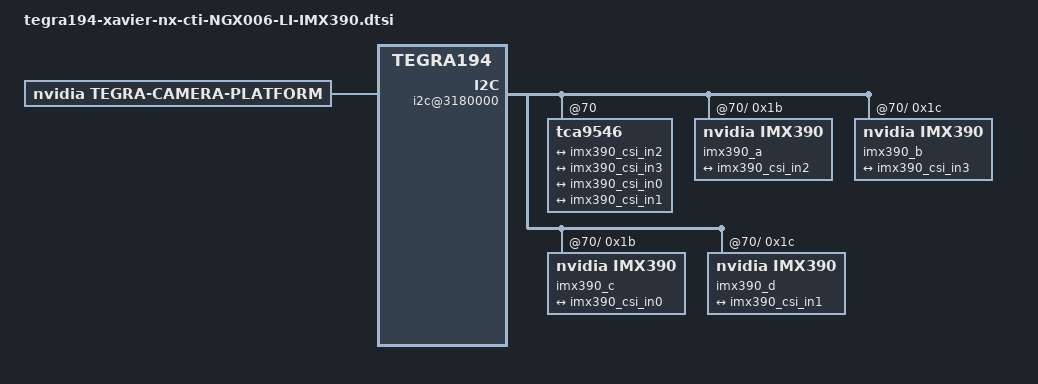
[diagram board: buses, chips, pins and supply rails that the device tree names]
/*
 * Copyright (c) 2018, NVIDIA CORPORATION.  All rights reserved.
 *
 * This program is free software; you can redistribute it and/or modify
 * it under the terms of the GNU General Public License as published by
 * the Free Software Foundation; either version 2 of the License, or
 * (at your option) any later version.
 *
 * This program is distributed in the hope that it will be useful, but WITHOUT
 * ANY WARRANTY; without even the implied warranty of MERCHANTABILITY or
 * FITNESS FOR A PARTICULAR PURPOSE.  See the GNU General Public License for
 * more details.
 *
 * You should have received a copy of the GNU General Public License
 * along with this program.  If not, see <http://www.gnu.org/licenses/>.
 */

/ {
	host1x {
		vi@15c10000 {
			num-channels = <4>;
			ports {
				#address-cells = <1>;
				#size-cells = <0>;
				port@0 {
					reg = <0>;
					imx390_vi_in0: endpoint {
						vc-id = <0>;
						port-index = <0>;
						bus-width = <2>;
						remote-endpoint = <&imx390_csi_out0>;
					};
				};
				port@1 {
					reg = <1>;
					imx390_vi_in1: endpoint {
						vc-id = <1>;
						port-index = <0>;
						bus-width = <2>;
						remote-endpoint = <&imx390_csi_out1>;
					};
				};
				port@2 {
					reg = <2>;
					imx390_vi_in2: endpoint {
						vc-id = <0>;
						port-index = <2>;
						bus-width = <2>;
						remote-endpoint = <&imx390_csi_out2>;
					};
				};
				port@3 {
					reg = <3>;
					imx390_vi_in3: endpoint {
						vc-id = <1>;
						port-index = <2>;
						bus-width = <2>;
						remote-endpoint = <&imx390_csi_out3>;
					};
				};
				
			};
		};

		nvcsi@15a00000 {
			num-channels = <4>;
			#address-cells = <1>;
			#size-cells = <0>;
			channel@0 {
				reg = <0>;
				ports {
					#address-cells = <1>;
					#size-cells = <0>;
					port@0 {
						reg = <0>;
						imx390_csi_in0: endpoint@0 {
							port-index = <0>;
							bus-width = <2>;
							remote-endpoint = <&imx390_imx390_out0>;
						};
					};
					port@1 {
						reg = <1>;
						imx390_csi_out0: endpoint@1 {
							remote-endpoint = <&imx390_vi_in0>;
						};
					};
				};
			};
			channel@1 {
				reg = <1>;
				ports {
					#address-cells = <1>;
					#size-cells = <0>;
					port@0 {
						reg = <0>;
						imx390_csi_in1: endpoint@2 {
							port-index = <0>;
							bus-width = <2>;
							remote-endpoint = <&imx390_imx390_out1>;
						};
					};
					port@1 {
						reg = <1>;
						imx390_csi_out1: endpoint@3 {
							remote-endpoint = <&imx390_vi_in1>;
						};
					};
				};
			};
			channel@2 {
				reg = <2>;
				ports {
					#address-cells = <1>;
					#size-cells = <0>;
					port@0 {
						reg = <0>;
						imx390_csi_in2: endpoint@4 {
							port-index = <2>;
							bus-width = <2>;
							remote-endpoint = <&imx390_imx390_out2>;
						};
					};
					port@1 {
						reg = <1>;
						imx390_csi_out2: endpoint@5 {
							remote-endpoint = <&imx390_vi_in2>;
						};
					};
				};
			};
			channel@3 {
				reg = <3>;
				ports {
					#address-cells = <1>;
					#size-cells = <0>;
					port@0 {
						reg = <0>;
						imx390_csi_in3: endpoint@6 {
							port-index = <2>;
							bus-width = <2>;
							remote-endpoint = <&imx390_imx390_out3>;
						};
					};
					port@1 {
						reg = <1>;
						imx390_csi_out3: endpoint@7 {
							remote-endpoint = <&imx390_vi_in3>;
						};
					};
				};
			};
						
		};
	};

	i2c@3180000 {
		
	tca9546@70 {	
			i2c@0 {
			imx390_a@1b {
				compatible = "nvidia,imx390";

				reg = <0x1b>;
				reg_mux = <0>;
				/* Physical dimensions of sensor */
				physical_w = "15.0";
				physical_h = "12.5";

				sensor_model ="imx390";

				/* Defines number of frames to be dropped by driver internally after applying */
				/* sensor crop settings. Some sensors send corrupt frames after applying */
				/* crop co-ordinates */
				post_crop_frame_drop = "0";

				/* Convert Gain to unit of dB (decibel) befor passing to kernel driver */
				use_decibel_gain = "true";

				/* enable CID_SENSOR_MODE_ID for sensor modes selection */
				use_sensor_mode_id = "true";

				mode0 {/*mode IMX390_MODE_1920X1080_CROP_30FPS*/
					mclk_khz = "24000";
					num_lanes = "2";
					tegra_sinterface = "serial_c";
					vc_id = "0";
					discontinuous_clk = "no";
					dpcm_enable = "false";
					cil_settletime = "0";
					dynamic_pixel_bit_depth = "12";
					csi_pixel_bit_depth = "12";
					mode_type = "bayer";
					pixel_phase = "rggb";

					active_w = "1920";
					active_h = "1080";
					readout_orientation = "0";
					line_length = "2200";
					inherent_gain = "1";
					mclk_multiplier = "3.09";
					pix_clk_hz = "74250000";
					serdes_pix_clk_hz = "833333333";

					gain_factor = "10";
					min_gain_val = "0"; /* dB */
					max_gain_val = "300"; /* dB */
					step_gain_val = "3"; /* 0.3 */
					default_gain = "0";
					min_hdr_ratio = "1";
					max_hdr_ratio = "1";
					framerate_factor = "1000000";
					min_framerate = "30000000";
					max_framerate = "30000000";
					step_framerate = "1";
					default_framerate = "30000000";
					exposure_factor = "1000000";
					min_exp_time = "118"; /*us, 2 lines*/
					max_exp_time = "33333";
					step_exp_time = "1";
					default_exp_time = "33333";/* us */
					embedded_metadata_height = "0";
				};
				ports {
					#address-cells = <1>;
					#size-cells = <0>;
					port@0 {
						reg = <0>;
						imx390_imx390_out2: endpoint {
							vc-id = <0>;
							port-index = <2>;
							bus-width = <2>;
							remote-endpoint = <&imx390_csi_in2>;
							};
						};
					};
				gmsl-link {
					src-csi-port = "b";
					dst-csi-port = "a";
					serdes-csi-link = "a";
					csi-mode = "1x4";
					st-vc = <0>;
					vc-id = <0>;
					num-lanes = <2>;
					streams = "ued-u1", "raw12";
					};
				};

			imx390_b@1c {
				compatible = "nvidia,imx390";

				reg = <0x1c>;
				reg_mux = <0>;
				/* Physical dimensions of sensor */
				physical_w = "15.0";
				physical_h = "12.5";

				sensor_model ="imx390";

				/* Defines number of frames to be dropped by driver internally after applying */
				/* sensor crop settings. Some sensors send corrupt frames after applying */
				/* crop co-ordinates */
				post_crop_frame_drop = "0";

				/* Convert Gain to unit of dB (decibel) befor passing to kernel driver */
				use_decibel_gain = "true";

				/* enable CID_SENSOR_MODE_ID for sensor modes selection */
				use_sensor_mode_id = "true";

				mode0 {/*mode IMX390_MODE_1920X1080_CROP_30FPS*/
					mclk_khz = "24000";
					num_lanes = "2";
					tegra_sinterface = "serial_c";
					vc_id = "1";
					discontinuous_clk = "no";
					dpcm_enable = "false";
					cil_settletime = "0";
					dynamic_pixel_bit_depth = "12";
					csi_pixel_bit_depth = "12";
					mode_type = "bayer";
					pixel_phase = "rggb";

					active_w = "1920";
					active_h = "1080";
					readout_orientation = "0";
					line_length = "2200";
					inherent_gain = "1";
					mclk_multiplier = "3.09";
					pix_clk_hz = "74250000";
					serdes_pix_clk_hz = "833333333";

					gain_factor = "10";
					min_gain_val = "0"; /* dB */
					max_gain_val = "300"; /* dB */
					step_gain_val = "3"; /* 0.3 */
					default_gain = "0";
					min_hdr_ratio = "1";
					max_hdr_ratio = "1";
					framerate_factor = "1000000";
					min_framerate = "30000000";
					max_framerate = "30000000";
					step_framerate = "1";
					default_framerate = "30000000";
					exposure_factor = "1000000";
					min_exp_time = "118"; /*us, 2 lines*/
					max_exp_time = "33333";
					step_exp_time = "1";
					default_exp_time = "33333";/* us */
					embedded_metadata_height = "0";
				};
				ports {
					#address-cells = <1>;
					#size-cells = <0>;
					port@0 {
						reg = <0>;
						imx390_imx390_out3: endpoint {
							vc-id = <1>;
							port-index = <2>;
							bus-width = <2>;
							remote-endpoint = <&imx390_csi_in3>;
							};
						};
					};
				gmsl-link {
					src-csi-port = "b";
					dst-csi-port = "a";
					serdes-csi-link = "b";
					csi-mode = "1x4";
					st-vc = <0>;
					vc-id = <1>;
					num-lanes = <2>;
					streams = "ued-u1", "raw12";
					};
				};
			};
			i2c@1 {
			imx390_c@1b {
				compatible = "nvidia,imx390";

				reg = <0x1b>;
				reg_mux = <1>;
				/* Physical dimensions of sensor */
				physical_w = "15.0";
				physical_h = "12.5";

				sensor_model ="imx390";

				/* Defines number of frames to be dropped by driver internally after applying */
				/* sensor crop settings. Some sensors send corrupt frames after applying */
				/* crop co-ordinates */
				post_crop_frame_drop = "0";

				/* Convert Gain to unit of dB (decibel) befor passing to kernel driver */
				use_decibel_gain = "true";

				/* enable CID_SENSOR_MODE_ID for sensor modes selection */
				use_sensor_mode_id = "true";

				mode0 {/*mode IMX390_MODE_1920X1080_CROP_30FPS*/
					mclk_khz = "24000";
					num_lanes = "2";
					tegra_sinterface = "serial_a";
					vc_id = "0";
					discontinuous_clk = "no";
					dpcm_enable = "false";
					cil_settletime = "0";
					dynamic_pixel_bit_depth = "12";
					csi_pixel_bit_depth = "12";
					mode_type = "bayer";
					pixel_phase = "rggb";

					active_w = "1920";
					active_h = "1080";
					readout_orientation = "0";
					line_length = "2200";
					inherent_gain = "1";
					mclk_multiplier = "3.09";
					pix_clk_hz = "74250000";
					serdes_pix_clk_hz = "833333333";

					gain_factor = "10";
					min_gain_val = "0"; /* dB */
					max_gain_val = "300"; /* dB */
					step_gain_val = "3"; /* 0.3 */
					default_gain = "0";
					min_hdr_ratio = "1";
					max_hdr_ratio = "1";
					framerate_factor = "1000000";
					min_framerate = "30000000";
					max_framerate = "30000000";
					step_framerate = "1";
					default_framerate = "30000000";
					exposure_factor = "1000000";
					min_exp_time = "118"; /*us, 2 lines*/
					max_exp_time = "33333";
					step_exp_time = "1";
					default_exp_time = "33333";/* us */
					embedded_metadata_height = "0";
				};
				ports {
					#address-cells = <1>;
					#size-cells = <0>;
					port@0 {
						reg = <0>;
						imx390_imx390_out0: endpoint {
							vc-id = <0>;
							port-index = <0>;
							bus-width = <2>;
							remote-endpoint = <&imx390_csi_in0>;
							};
						};
					};
				gmsl-link {
					src-csi-port = "b";
					dst-csi-port = "a";
					serdes-csi-link = "a";
					csi-mode = "1x4";
					st-vc = <0>;
					vc-id = <0>;
					num-lanes = <2>;
					streams = "ued-u1", "raw12";
					};
				};

			imx390_d@1c {
				compatible = "nvidia,imx390";

				reg = <0x1c>;
				reg_mux = <1>;
				/* Physical dimensions of sensor */
				physical_w = "15.0";
				physical_h = "12.5";

				sensor_model ="imx390";

				/* Defines number of frames to be dropped by driver internally after applying */
				/* sensor crop settings. Some sensors send corrupt frames after applying */
				/* crop co-ordinates */
				post_crop_frame_drop = "0";

				/* Convert Gain to unit of dB (decibel) befor passing to kernel driver */
				use_decibel_gain = "true";

				/* enable CID_SENSOR_MODE_ID for sensor modes selection */
				use_sensor_mode_id = "true";

				mode0 {/*mode IMX390_MODE_1920X1080_CROP_30FPS*/
					mclk_khz = "24000";
					num_lanes = "2";
					tegra_sinterface = "serial_a";
					vc_id = "1";
					discontinuous_clk = "no";
					dpcm_enable = "false";
					cil_settletime = "0";
					dynamic_pixel_bit_depth = "12";
					csi_pixel_bit_depth = "12";
					mode_type = "bayer";
					pixel_phase = "rggb";

					active_w = "1920";
					active_h = "1080";
					readout_orientation = "0";
					line_length = "2200";
					inherent_gain = "1";
					mclk_multiplier = "3.09";
					pix_clk_hz = "74250000";
					serdes_pix_clk_hz = "833333333";

					gain_factor = "10";
					min_gain_val = "0"; /* dB */
					max_gain_val = "300"; /* dB */
					step_gain_val = "3"; /* 0.3 */
					default_gain = "0";
					min_hdr_ratio = "1";
					max_hdr_ratio = "1";
					framerate_factor = "1000000";
					min_framerate = "30000000";
					max_framerate = "30000000";
					step_framerate = "1";
					default_framerate = "30000000";
					exposure_factor = "1000000";
					min_exp_time = "118"; /*us, 2 lines*/
					max_exp_time = "33333";
					step_exp_time = "1";
					default_exp_time = "33333";/* us */
					embedded_metadata_height = "0";
				};
				ports {
					#address-cells = <1>;
					#size-cells = <0>;
					port@0 {
						reg = <0>;
						imx390_imx390_out1: endpoint {
							vc-id = <1>;
							port-index = <0>;
							bus-width = <2>;
							remote-endpoint = <&imx390_csi_in1>;
							};
						};
					};
				gmsl-link {
					src-csi-port = "b";
					dst-csi-port = "a";
					serdes-csi-link = "b";
					csi-mode = "1x4";
					st-vc = <0>;
					vc-id = <1>;
					num-lanes = <2>;
					streams = "ued-u1", "raw12";
					};
				};
			};
		};
	};
};

/ {

	tegra-camera-platform {
		compatible = "nvidia, tegra-camera-platform";
		/**
		* Physical settings to calculate max ISO BW
		*
		* num_csi_lanes = <>;
		* Total number of CSI lanes when all cameras are active
		*
		* max_lane_speed = <>;
		* Max lane speed in Kbit/s
		*
		* min_bits_per_pixel = <>;
		* Min bits per pixel
		*
		* vi_peak_byte_per_pixel = <>;
		* Max byte per pixel for the VI ISO case
		*
		* vi_bw_margin_pct = <>;
		* Vi bandwidth margin in percentage
		*
		* max_pixel_rate = <>;
		* Max pixel rate in Kpixel/s for the ISP ISO case
		*
		* isp_peak_byte_per_pixel = <>;
		* Max byte per pixel for the ISP ISO case
		*
		* isp_bw_margin_pct = <>;
		* Isp bandwidth margin in percentage
		*/
		num_csi_lanes = <8>;
		max_lane_speed = <4000000>;
		min_bits_per_pixel = <10>;
		vi_peak_byte_per_pixel = <2>;
		vi_bw_margin_pct = <25>;
		isp_peak_byte_per_pixel = <5>;
		isp_bw_margin_pct = <25>;

		/**
		 * The general guideline for naming badge_info contains 3 parts, and is as follows,
		 * The first part is the camera_board_id for the module; if the module is in a FFD
		 * platform, then use the platform name for this part.
		 * The second part contains the position of the module, ex. "rear" or "front".
		 * The third part contains the last 6 characters of a part number which is found
		 * in the module's specsheet from the vender.
		 */
		modules {
			module0 {
				badge = "imx390_centerleft_liimx390";
				position = "centerleft";
				orientation = "6";
				drivernode0 {
					/* Declare PCL support driver (classically known as guid)  */
					pcl_id = "v4l2_sensor";
					/* Driver v4l2 device name */
					devname = "imx390 9-001b";
					/* Declare the device-tree hierarchy to driver instance */
					proc-device-tree = "/proc/device-tree/i2c@3180000/tca9546@70/i2c@0/imx390_a@1b";
				};
			};
			module1 {
				badge = "imx390_bottomleft_liimx390";
				position = "bottomleft";
				orientation = "7";
				drivernode0 {
					/* Declare PCL support driver (classically known as guid)  */
					pcl_id = "v4l2_sensor";
					/* Driver v4l2 device name */
					devname = "imx390 9-001c";
					/* Declare the device-tree hierarchy to driver instance */
					proc-device-tree = "/proc/device-tree/i2c@3180000/tca9546@70/i2c@0/imx390_b@1c";
				};
			};
			module2 {
				badge = "imx390_topright_liimx390";
				position = "topright";
				orientation = "4";
				drivernode0 {
					/* Declare PCL support driver (classically known as guid)  */
					pcl_id = "v4l2_sensor";
					/* Driver v4l2 device name */
					devname = "imx390 10-001b";
					/* Declare the device-tree hierarchy to driver instance */
					proc-device-tree = "/proc/device-tree/i2c@3180000/tca9546@70/i2c@1/imx390_c@1b";
				};
			};
			module3 {
				badge = "imx390_bottomright_liimx390";
				position = "bottomright";
				orientation = "5";
				drivernode0 {
					/* Declare PCL support driver (classically known as guid)  */
					pcl_id = "v4l2_sensor";
					/* Driver v4l2 device name */
					devname = "imx390 10-001c";
					/* Declare the device-tree hierarchy to driver instance */
					proc-device-tree = "/proc/device-tree/i2c@3180000/tca9546@70/i2c@1/imx390_d@1c";
				};
			};
			
		};
	};
};

